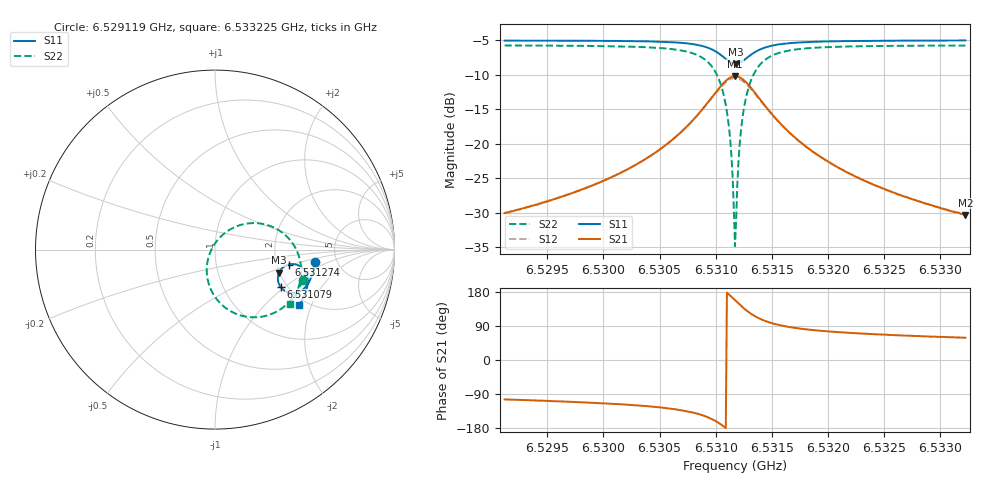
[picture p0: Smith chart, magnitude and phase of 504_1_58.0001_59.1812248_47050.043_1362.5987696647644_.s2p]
#  HZ  S  RI  R  50.00
! Rohde & Schwarz Vector Network Analyzer
! Rohde-Schwarz,ZNB20-2Port,1311601062101988,3.16
! Created: UTC 3/21/2024, 1:12:54 AM
! freq[Hz]  re:S11  im:S11  re:S21  im:S21  re:S12  im:S12  re:S22  im:S22
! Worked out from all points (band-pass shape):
!   401 points, 6.529119 GHz to 6.533225 GHz, reference 50 ohm
!   highest |S21| = -10.20 dB at 6.531172 GHz (marker M1); lowest = -30.3 dB at 6.533225 GHz (marker M2)
!   |S21| within 3 dB of the highest: 6.530968 GHz to 6.531378 GHz (409.9 kHz wide, 0.00628 % of centre)
!   lowest |S11| = -8.4 dB at 6.531182 GHz (marker M3), VSWR 2.22, Z = 99.5 - j30 ohm
!   |S11| at or under -10 dB: nowhere
!   |S22| runs from -34.9 to -5.7 dB; largest |S21 - S12| = 0.012
!   S11 on the Smith chart (normalised r, x): 6.529119 GHz: 3.41, -0.68; 6.531079 GHz: 1.85, -0.93; 6.531274 GHz: 2.32, -0.47; 6.533225 GHz: 1.82, -1.64
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6.529119e9  0.5567 -0.068  -0.00753 -0.0304  -0.00812 -0.0304  0.488 -0.1719
6.5298067e9  0.5456 -0.1251  -0.0172 -0.0432  -0.0181 -0.0427  0.4567 -0.2359
6.5304943e9  0.5163 -0.1933  -0.0513 -0.0738  -0.0533 -0.0725  0.3746 -0.3259
6.5307304e9  0.4889 -0.2228  -0.0912 -0.093  -0.094 -0.09  0.2936 -0.366
6.5309049e9  0.4448 -0.2414  -0.1598 -0.099  -0.1621 -0.0926  0.1668 -0.3725
6.5310075e9  0.3999 -0.2355  -0.2295 -0.0722  -0.2287 -0.0626  0.0488 -0.3166
6.5310794e9  0.3652 -0.2075  -0.2806 -0.013  -0.2749 -0.00313  -0.0287 -0.2087
6.5311204e9  0.3524 -0.1792  -0.2965 0.0404  -0.2874 0.0484  -0.0462 -0.1175
6.5311615e9  0.3517 -0.1455  -0.2913 0.1013  -0.2805 0.1056  -0.0278 -0.0182
6.5311717e9  0.3539 -0.1372  -0.2865 0.1162  -0.2753 0.1196  -0.0172 0.00536
6.531182e9  0.3569 -0.129  -0.2798 0.1305  -0.2688 0.1329  -0.00411 0.0279
6.5311923e9  0.3608 -0.1212  -0.2719 0.1441  -0.2609 0.1455  0.0108 0.049
6.5312128e9  0.3707 -0.1073  -0.2524 0.1684  -0.2423 0.168  0.0462 0.0856
6.5312231e9  0.3765 -0.1014  -0.2414 0.1786  -0.2318 0.1775  0.0661 0.1009
6.5312436e9  0.3896 -0.0918  -0.2176 0.1954  -0.2091 0.193  0.1079 0.1246
6.5312744e9  0.4101 -0.0831  -0.1805 0.2109  -0.1737 0.2075  0.1721 0.1442
6.5313462e9  0.4536 -0.0836  -0.1042 0.2123  -0.1008 0.2092  0.3003 0.1341
6.5314489e9  0.4913 -0.1066  -0.0389 0.1805  -0.0375 0.1787  0.4067 0.0664
6.5316028e9  0.5124 -0.1432  0.000191 0.1331  0.00131 0.1324  0.4652 -0.0297
6.5318594e9  0.5169 -0.1869  0.0165 0.0866  0.0176 0.0866  0.4798 -0.1279
6.5325471e9  0.4973 -0.2577  0.0182 0.0415  0.019 0.0412  0.4515 -0.2449
6.5332245e9  0.4706 -0.3082  0.0158 0.026  0.0163 0.0258  0.417 -0.3055
